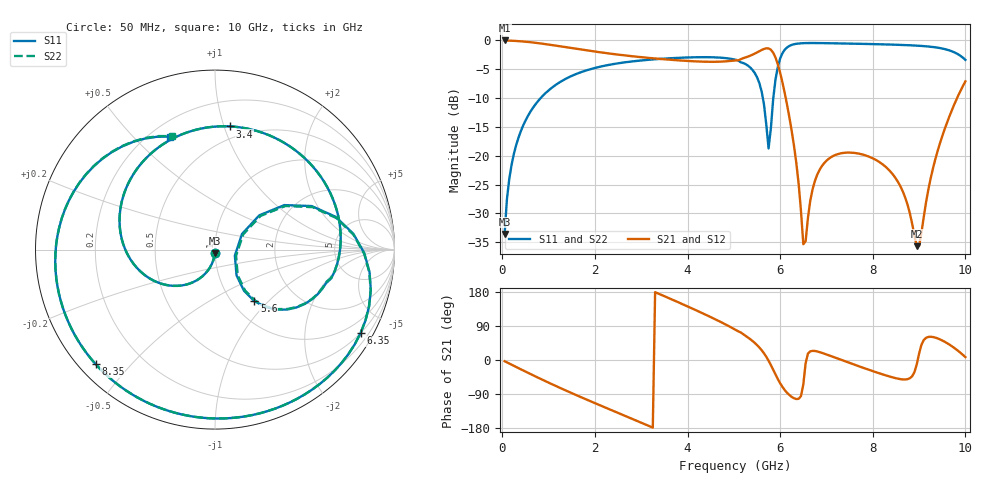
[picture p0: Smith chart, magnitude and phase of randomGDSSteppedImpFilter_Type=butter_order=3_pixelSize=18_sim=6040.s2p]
! freq	dB(S11)	phase(S11)	dB(S12)	phase(S12)
!  dB(S21)	phase(S21)	dB(S22)	phase(S22)
!S-par simulation data
#  GHz  S  DB  R 50
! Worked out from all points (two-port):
!   200 points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, 50 MHz to 10 GHz, reference 50 ohm
!   highest |S21| = -0.01 dB at 50 MHz (marker M1); lowest = -35.7 dB at 8.95 GHz (marker M2)
!   |S21| within 3 dB of the highest: start of sweep to 3.128 GHz; 5.231 GHz to 5.901 GHz (670.5 MHz wide, 12 % of centre)
!   lowest |S11| = -33.6 dB at 50 MHz (marker M3), VSWR 1.04, Z = 49.8 - j2.09 ohm
!   |S11| at or under -10 dB: start of sweep to 828.8 MHz; 5.626 GHz to 5.852 GHz (225.2 MHz wide, 3.92 % of centre)
!   |S22| runs from -33.6 to -0.5 dB; largest |S21 - S12| = 0
!   S11 on the Smith chart (normalised r, x): 50 MHz: 1.00, -0.04; 3.4 GHz: 0.40, +1.04; 5.6 GHz: 1.26, -0.83; 6.35 GHz: 0.50, -3.69; 8.35 GHz: 0.05, -0.40; 10 GHz: 0.28, +0.64
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0.05  -33.56 -93.1  -0.01 -3.1  -0.01 -3.1  -33.56 -93.1
0.2  -21.59 -102.7  -0.05 -12.3  -0.05 -12.3  -21.59 -102.7
0.5  -13.92 -121.1  -0.22 -30.5  -0.22 -30.5  -13.92 -121.1
1.1  -8.02 -156.0  -0.84 -65.4  -0.84 -65.4  -8.02 -156.0
1.75  -5.37 168.6  -1.64 -100.7  -1.64 -100.7  -5.37 168.6
2.6  -3.85 124.6  -2.56 -144.7  -2.56 -144.7  -3.85 124.6
3.4  -3.21 83.2  -3.20 173.7  -3.20 173.7  -3.21 83.3
4.35  -2.90 31.9  -3.69 121.9  -3.69 121.9  -2.90 32.1
5.05  -3.37 -10.1  -3.46 78.7  -3.46 78.7  -3.38 -10.0
5.6  -8.84 -52.6  -1.66 25.9  -1.66 25.9  -8.81 -51.7
5.75  -18.74 -16.9  -1.39 -1.9  -1.39 -1.9  -18.25 -16.2
5.95  -4.57 24.2  -4.15 -50.3  -4.15 -50.3  -4.55 23.6
6.1  -1.60 -1.2  -9.18 -79.5  -9.18 -79.5  -1.60 -1.6
6.35  -0.58 -29.8  -21.32 -103.1  -21.32 -103.1  -0.58 -30.1
6.5  -0.48 -41.9  -35.35 -64.5  -35.35 -64.5  -0.48 -42.1
6.7  -0.45 -55.1  -25.82 24.2  -25.82 24.2  -0.45 -55.3
7.3  -0.52 -87.1  -19.60 1.2  -19.60 1.2  -0.52 -87.3
8.35  -0.71 -136.2  -22.48 -43.2  -22.48 -43.2  -0.71 -136.5
8.7  -0.80 -153.5  -27.25 -51.4  -27.25 -51.4  -0.81 -153.8
8.95  -0.90 -166.8  -35.68 -11.4  -35.68 -11.4  -0.91 -167.2
9.5  -1.40 157.8  -16.61 51.6  -16.61 51.6  -1.41 157.3
10  -3.37 111.8  -7.10 7.7  -7.10 7.7  -3.38 110.9
